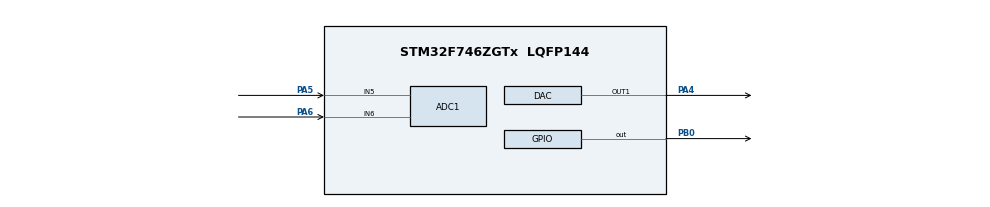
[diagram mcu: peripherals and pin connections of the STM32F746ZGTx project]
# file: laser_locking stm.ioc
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ADC1.Channel-0\#ChannelRegularConversion=ADC_CHANNEL_5
ADC1.Channel-1\#ChannelRegularConversion=ADC_CHANNEL_6
ADC1.ClockPrescaler=ADC_CLOCK_SYNC_PCLK_DIV4
ADC1.ContinuousConvMode=ENABLE
ADC1.DMAContinuousRequests=ENABLE
ADC1.NbrOfConversion=2
ADC1.NbrOfConversionFlag=1
ADC1.Rank-0\#ChannelRegularConversion=1
ADC1.Rank-1\#ChannelRegularConversion=2
ADC1.SamplingTime-0\#ChannelRegularConversion=ADC_SAMPLETIME_144CYCLES
ADC1.SamplingTime-1\#ChannelRegularConversion=ADC_SAMPLETIME_144CYCLES
ADC1.ScanConvMode=ADC_SCAN_ENABLE
ADC1.master=1
Dma.ADC1.0.Direction=DMA_PERIPH_TO_MEMORY
Dma.ADC1.0.FIFOMode=DMA_FIFOMODE_DISABLE
Dma.ADC1.0.Instance=DMA2_Stream0
Dma.ADC1.0.MemDataAlignment=DMA_MDATAALIGN_HALFWORD
Dma.ADC1.0.MemInc=DMA_MINC_ENABLE
Dma.ADC1.0.Mode=DMA_CIRCULAR
Dma.ADC1.0.PeriphDataAlignment=DMA_PDATAALIGN_HALFWORD
Dma.ADC1.0.PeriphInc=DMA_PINC_DISABLE
Dma.ADC1.0.Priority=DMA_PRIORITY_LOW
Dma.Request0=ADC1
Mcu.Family=STM32F7
Mcu.Name=STM32F746ZGTx
Mcu.Package=LQFP144
NVIC.DMA2_Stream0_IRQn=true\:0\:0\:false\:false\:true\:false\:true
NVIC.PriorityGroup=NVIC_PRIORITYGROUP_4
PA4.Signal=COMP_DAC1_group
PA5.Signal=ADCx_IN5
PA6.Signal=ADCx_IN6
PB0.Signal=GPIO_Output
ProjectManager.HeapSize=0x200
ProjectManager.StackSize=0x400
ProjectManager.TargetToolchain=STM32CubeIDE
RCC.HSE_VALUE=25000000
RCC.HSI_VALUE=16000000
RCC.LSE_VALUE=32768
RCC.USBFreq_Value=96000000
RCC.VCOOutputFreq_Value=192000000
SH.ADCx_IN5.0=ADC1_IN5,IN5
SH.ADCx_IN6.0=ADC1_IN6,IN6
SH.COMP_DAC1_group.0=DAC_OUT1,DAC_OUT1
TIM9.AutoReloadPreload=TIM_AUTORELOAD_PRELOAD_ENABLE
TIM9.Period=1599
TIM9.Prescaler=99
VP_TIM9_VS_ClockSourceINT.Mode=Internal
board=custom

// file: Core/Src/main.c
/* USER CODE BEGIN Header */
/**
  ******************************************************************************
  * @file           : main.c
  * @brief          : Main program body
  ******************************************************************************
  * @attention
  *
  * <h2><center>&copy; Copyright (c) 2023 STMicroelectronics.
  * All rights reserved.</center></h2>
  *
  * This software component is licensed by ST under BSD 3-Clause license,
  * the "License"; You may not use this file except in compliance with the
  * License. You may obtain a copy of the License at:
  *                        opensource.org/licenses/BSD-3-Clause
  *
  ******************************************************************************
  */
/* USER CODE END Header */
#include "main.h"

/* USER CODE BEGIN Includes */
#include <stdbool.h>
/* USER CODE END Includes */

ADC_HandleTypeDef hadc1;
DMA_HandleTypeDef hdma_adc1;

DAC_HandleTypeDef hdac;

TIM_HandleTypeDef htim9;

/* USER CODE BEGIN PV */
uint16_t PD[2];
int t = 0;
uint16_t pd1, pd2;
float freq = 1;
float ramp_amp = 3.28;
long ramp_time = 0;
long current_time = 0;
float period = 1000000/1;
//long period = 1000000;
uint32_t out = 0;
float temp;
bool comp;
/* USER CODE END PV */

void SystemClock_Config(void);
static void MX_GPIO_Init(void);
static void MX_DMA_Init(void);
static void MX_ADC1_Init(void);
static void MX_DAC_Init(void);
static void MX_TIM9_Init(void);
/* USER CODE BEGIN PFP */
float RampOut(long ramp_time);
uint16_t RampOut1(long ramp_time);
long getCurrentMicros(void);
static uint32_t LL_SYSTICK_IsActiveCounterFlag(void);
//int alt_main();
/* USER CODE END PFP */

int main(void)
{

  /* MCU Configuration--------------------------------------------------------*/

  /* Reset of all peripherals, Initializes the Flash interface and the Systick. */
  HAL_Init();

  /* Configure the system clock */
  SystemClock_Config();

  /* Initialize all configured peripherals */
  MX_GPIO_Init();
  MX_DMA_Init();
  MX_ADC1_Init();
  MX_DAC_Init();
  MX_TIM9_Init();
  /* USER CODE BEGIN 2 */
  HAL_ADC_Start_DMA(&hadc1, (uint32_t *)PD, 2);
  HAL_DAC_Start(&hdac, DAC_CHANNEL_1);
  HAL_DAC_SetValue(&hdac, DAC_CHANNEL_1, DAC_ALIGN_12B_R, 0);
//  HAL_TIM_Base_Start_IT(&htim9);

  period /= freq;

  /* USER CODE END 2 */

  /* Infinite loop */
  /* USER CODE BEGIN WHILE */
  while (1)
  {
	  float ramp_start_time = getCurrentMicros();
	  ramp_time = 0;
	  while(ramp_time <= period){
		current_time = getCurrentMicros();
		//----------------Generate Ramp----------------
		comp = current_time - ramp_start_time < 0;
		ramp_time = current_time - ramp_start_time;
		temp = RampOut(ramp_time)/3.3*4095;
		out = (uint32_t)temp;
		HAL_DAC_SetValue(&hdac, DAC_CHANNEL_1, DAC_ALIGN_12B_R, (uint32_t)temp);
		pd1 = PD[0];
		pd2 = PD[1];
//		HAL_Delay(1);
	  }

//	  HAL_GPIO_TogglePin(GPIOB,GPIO_PIN_0);

//	  if(t==4094) t=0;
//	  HAL_DAC_SetValue(&hdac, DAC_CHANNEL_1, DAC_ALIGN_12B_R, t++);
//	  HAL_Delay(1);
//	  HAL_Delay(500);
    /* USER CODE END WHILE */

  }
}

void SystemClock_Config(void)
{
  RCC_OscInitTypeDef RCC_OscInitStruct = {0};
  RCC_ClkInitTypeDef RCC_ClkInitStruct = {0};

  /** Configure the main internal regulator output voltage
  */
  __HAL_RCC_PWR_CLK_ENABLE();
  __HAL_PWR_VOLTAGESCALING_CONFIG(PWR_REGULATOR_VOLTAGE_SCALE3);
  /** Initializes the RCC Oscillators according to the specified parameters
  * in the RCC_OscInitTypeDef structure.
  */
  RCC_OscInitStruct.OscillatorType = RCC_OSCILLATORTYPE_HSI;
  RCC_OscInitStruct.HSIState = RCC_HSI_ON;
  RCC_OscInitStruct.HSICalibrationValue = RCC_HSICALIBRATION_DEFAULT;
  RCC_OscInitStruct.PLL.PLLState = RCC_PLL_NONE;
  if (HAL_RCC_OscConfig(&RCC_OscInitStruct) != HAL_OK)
  {
    Error_Handler();
  }
  /** Initializes the CPU, AHB and APB buses clocks
  */
  RCC_ClkInitStruct.ClockType = RCC_CLOCKTYPE_HCLK|RCC_CLOCKTYPE_SYSCLK
                              |RCC_CLOCKTYPE_PCLK1|RCC_CLOCKTYPE_PCLK2;
  RCC_ClkInitStruct.SYSCLKSource = RCC_SYSCLKSOURCE_HSI;
  RCC_ClkInitStruct.AHBCLKDivider = RCC_SYSCLK_DIV1;
  RCC_ClkInitStruct.APB1CLKDivider = RCC_HCLK_DIV1;
  RCC_ClkInitStruct.APB2CLKDivider = RCC_HCLK_DIV1;

  if (HAL_RCC_ClockConfig(&RCC_ClkInitStruct, FLASH_LATENCY_0) != HAL_OK)
  {
    Error_Handler();
  }
}

static void MX_ADC1_Init(void)
{

  ADC_ChannelConfTypeDef sConfig = {0};

  /** Configure the global features of the ADC (Clock, Resolution, Data Alignment and number of conversion)
  */
  hadc1.Instance = ADC1;
  hadc1.Init.ClockPrescaler = ADC_CLOCK_SYNC_PCLK_DIV4;
  hadc1.Init.Resolution = ADC_RESOLUTION_12B;
  hadc1.Init.ScanConvMode = ADC_SCAN_ENABLE;
  hadc1.Init.ContinuousConvMode = ENABLE;
  hadc1.Init.DiscontinuousConvMode = DISABLE;
  hadc1.Init.ExternalTrigConvEdge = ADC_EXTERNALTRIGCONVEDGE_NONE;
  hadc1.Init.ExternalTrigConv = ADC_SOFTWARE_START;
  hadc1.Init.DataAlign = ADC_DATAALIGN_RIGHT;
  hadc1.Init.NbrOfConversion = 2;
  hadc1.Init.DMAContinuousRequests = ENABLE;
  hadc1.Init.EOCSelection = ADC_EOC_SINGLE_CONV;
  if (HAL_ADC_Init(&hadc1) != HAL_OK)
  {
    Error_Handler();
  }
  /** Configure for the selected ADC regular channel its corresponding rank in the sequencer and its sample time.
  */
  sConfig.Channel = ADC_CHANNEL_5;
  sConfig.Rank = ADC_REGULAR_RANK_1;
  sConfig.SamplingTime = ADC_SAMPLETIME_144CYCLES;
  if (HAL_ADC_ConfigChannel(&hadc1, &sConfig) != HAL_OK)
  {
    Error_Handler();
  }
  /** Configure for the selected ADC regular channel its corresponding rank in the sequencer and its sample time.
  */
  sConfig.Channel = ADC_CHANNEL_6;
  sConfig.Rank = ADC_REGULAR_RANK_2;
  if (HAL_ADC_ConfigChannel(&hadc1, &sConfig) != HAL_OK)
  {
    Error_Handler();
  }

}

static void MX_DAC_Init(void)
{

  DAC_ChannelConfTypeDef sConfig = {0};

  /** DAC Initialization
  */
  hdac.Instance = DAC;
  if (HAL_DAC_Init(&hdac) != HAL_OK)
  {
    Error_Handler();
  }
  /** DAC channel OUT1 config
  */
  sConfig.DAC_Trigger = DAC_TRIGGER_NONE;
  sConfig.DAC_OutputBuffer = DAC_OUTPUTBUFFER_ENABLE;
  if (HAL_DAC_ConfigChannel(&hdac, &sConfig, DAC_CHANNEL_1) != HAL_OK)
  {
    Error_Handler();
  }

}

static void MX_TIM9_Init(void)
{

  TIM_ClockConfigTypeDef sClockSourceConfig = {0};

  htim9.Instance = TIM9;
  htim9.Init.Prescaler = 99;
  htim9.Init.CounterMode = TIM_COUNTERMODE_UP;
  htim9.Init.Period = 1599;
  htim9.Init.ClockDivision = TIM_CLOCKDIVISION_DIV1;
  htim9.Init.AutoReloadPreload = TIM_AUTORELOAD_PRELOAD_ENABLE;
  if (HAL_TIM_Base_Init(&htim9) != HAL_OK)
  {
    Error_Handler();
  }
  sClockSourceConfig.ClockSource = TIM_CLOCKSOURCE_INTERNAL;
  if (HAL_TIM_ConfigClockSource(&htim9, &sClockSourceConfig) != HAL_OK)
  {
    Error_Handler();
  }

}

static void MX_DMA_Init(void)
{

  /* DMA controller clock enable */
  __HAL_RCC_DMA2_CLK_ENABLE();

  /* DMA interrupt init */
  /* DMA2_Stream0_IRQn interrupt configuration */
  HAL_NVIC_SetPriority(DMA2_Stream0_IRQn, 0, 0);
  HAL_NVIC_EnableIRQ(DMA2_Stream0_IRQn);

}

static void MX_GPIO_Init(void)
{
  GPIO_InitTypeDef GPIO_InitStruct = {0};

  /* GPIO Ports Clock Enable */
  __HAL_RCC_GPIOA_CLK_ENABLE();
  __HAL_RCC_GPIOB_CLK_ENABLE();

  /*Configure GPIO pin Output Level */
  HAL_GPIO_WritePin(GPIOB, GPIO_PIN_0, GPIO_PIN_RESET);

  /*Configure GPIO pin : PB0 */
  GPIO_InitStruct.Pin = GPIO_PIN_0;
  GPIO_InitStruct.Mode = GPIO_MODE_OUTPUT_PP;
  GPIO_InitStruct.Pull = GPIO_NOPULL;
  GPIO_InitStruct.Speed = GPIO_SPEED_FREQ_LOW;
  HAL_GPIO_Init(GPIOB, &GPIO_InitStruct);

}

/* USER CODE BEGIN 4 */

void HAL_TIM_PeriodElapsedCallback(TIM_HandleTypeDef *htim)
	{
	  /* Prevent unused argument(s) compilation warning */
	  UNUSED(htim);

	  /* NOTE : This function should not be modified, when the callback is needed,
				the HAL_TIM_PeriodElapsedCallback could be implemented in the user file
	   */

	  ramp_time += 100;
	  HAL_GPIO_TogglePin(GPIOB,GPIO_PIN_0);
	}

float RampOut(long ramp_time) {
  float ramp;
  float amp = ramp_amp;
  float offset = 0;
  if(ramp_time<=(period/2))
      ramp = (amp/(period/2))*ramp_time + offset;
    else
      ramp = 2*amp -(amp/(period/2))*ramp_time + offset;
  if(ramp < 0) ramp = 0;
    return ramp;
}

uint16_t RampOut1(long ramp_time) {
	uint16_t ramp;
	uint16_t amp = 4095;
	if(ramp_time<=(period))
		ramp = (amp/(period))*ramp_time;
    else
    	ramp = -(amp/(period))*ramp_time;
    return ramp;
}

long getCurrentMicros(void){
  /* Ensure COUNTFLAG is reset by reading SysTick control and status register */
  LL_SYSTICK_IsActiveCounterFlag();
  long m = HAL_GetTick();
  const long tms = SysTick->LOAD + 1;
  __IO long u = tms - SysTick->VAL;
  if (LL_SYSTICK_IsActiveCounterFlag()) {
    m = HAL_GetTick();
    u = tms - SysTick->VAL;
  }
  return (m * 1000 + (u * 1000) / tms);
}

static inline uint32_t LL_SYSTICK_IsActiveCounterFlag(void)
{
  return ((SysTick->CTRL & SysTick_CTRL_COUNTFLAG_Msk) == (SysTick_CTRL_COUNTFLAG_Msk));
}
/* USER CODE END 4 */

void Error_Handler(void)
{
  __disable_irq();
  while (1)
  {
  }
}

/************************ (C) COPYRIGHT STMicroelectronics *****END OF FILE****/
